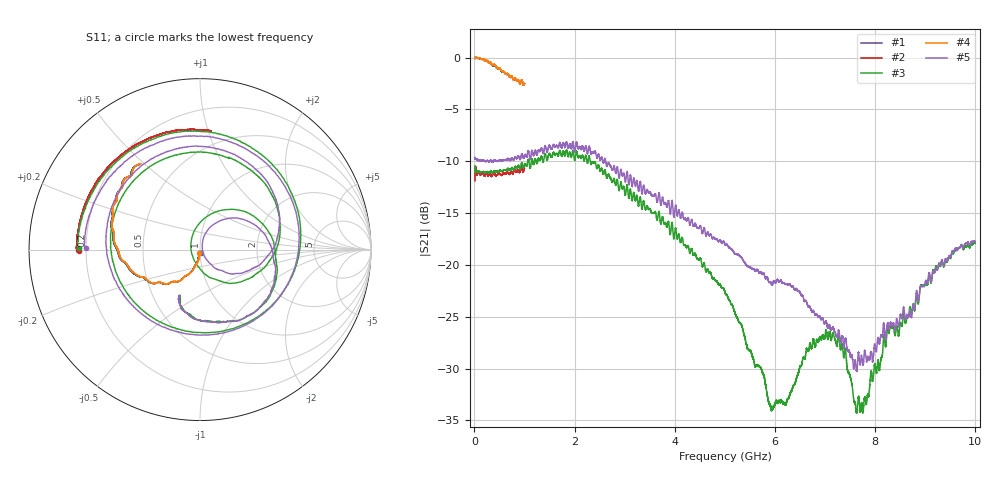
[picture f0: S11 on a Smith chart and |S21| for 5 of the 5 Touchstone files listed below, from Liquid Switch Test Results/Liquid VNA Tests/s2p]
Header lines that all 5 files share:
!Agilent Technologies,E8362C,MY43020457,A.09.42.15
!Agilent E8362C: A.09.42.15
!Correction: S11(Full 2 Port(1,2))
!S21(Full 2 Port(1,2))
!S12(Full 2 Port(1,2))
!S22(Full 2 Port(1,2))
!S2P File: Measurements: S11, S21, S12, S22:
# Hz S  dB  R 50
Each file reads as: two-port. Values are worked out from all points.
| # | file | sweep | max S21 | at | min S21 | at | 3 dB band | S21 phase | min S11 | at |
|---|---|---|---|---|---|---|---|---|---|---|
| 1 | on_empty_general_s2.s2p | 10 MHz to 1 GHz | 0.03 dB | 15.57 MHz | -2.7 dB | 981.7 MHz | 10 MHz-1 GHz | -59 deg at 505 MHz | -39.9 dB | 10.31 MHz |
| 2 | on_empty_NaOH_s2.s2p | 10 MHz to 1 GHz | -10.49 dB | 19.28 MHz | -11.9 dB | 10 MHz | 10 MHz-1 GHz | -48 deg at 505 MHz | -3.1 dB | 999.7 MHz |
| 3 | on_empty_NaOH_s2_10G.s2p | 10 MHz to 10 GHz | -8.91 dB | 1.84 GHz | -34.3 dB | 7.761 GHz | 10 MHz-2.741 GHz | -154 deg at 5.005 GHz | -25.7 dB | 6.339 GHz |
| 4 | on_empty_pure_s2.s2p | 10 MHz to 1 GHz | 0.04 dB | 15.57 MHz | -2.7 dB | 981.7 MHz | 10 MHz-1 GHz | -59 deg at 505 MHz | -39.5 dB | 11.86 MHz |
| 5 | on_empty_saltwater_s2_10G.s2p | 10 MHz to 10 GHz | -8.10 dB | 1.968 GHz | -30.3 dB | 7.638 GHz | 10 MHz-2.817 GHz | -123 deg at 5.005 GHz | -37.1 dB | 6.393 GHz |
